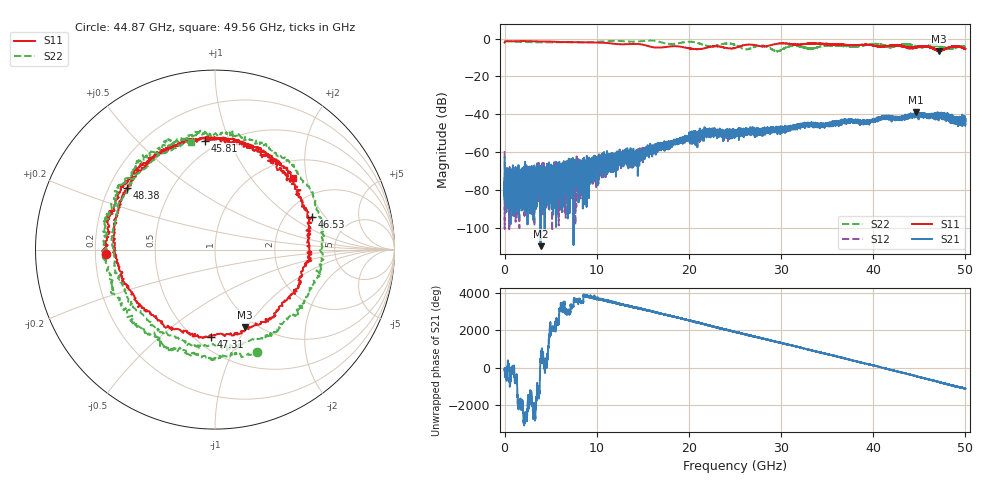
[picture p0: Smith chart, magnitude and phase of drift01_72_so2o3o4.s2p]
!Created with skrf (http://scikit-rf.org).
# Hz S RI R 50.0
!freq ReS11 ImS11 ReS21 ImS21 ReS12 ImS12 ReS22 ImS22
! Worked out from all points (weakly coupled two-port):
!   10001 points, 300 kHz to 50 GHz, reference 50 ohm
!   highest |S21| = -38.87 dB at 44.62 GHz (marker M1); lowest = -109.6 dB at 3.9 GHz (marker M2)
!   lowest |S11| = -6.6 dB at 47.15 GHz (marker M3), VSWR 2.74, Z = 44.5 - j49.3 ohm
!   |S11| at or under -10 dB: nowhere
!   |S22| runs from -6.8 to -1.0 dB; largest |S21 - S12| = 0.0036
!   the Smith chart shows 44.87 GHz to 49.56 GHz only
!   S11 on the Smith chart (normalised r, x): 44.87 GHz: 0.24, -0.02; 45.81 GHz: 0.42, +0.82; 46.53 GHz: 2.77, +1.50; 47.31 GHz: 0.60, -0.76; 48.38 GHz: 0.27, +0.29; 49.56 GHz: 1.37, +1.67
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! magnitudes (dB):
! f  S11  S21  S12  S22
! 300 kHz  -2.1  -62.9  -59.5  -1.3
! 255.3 MHz  -1.4  -79.3  -83.1  -1.4
! 3.9 GHz  -1.6  -109.6  -76.2  -2.0
! 8.335 GHz  -1.9  -71.1  -79.2  -2.1
! 16.67 GHz  -4.8  -56.8  -57.3  -1.6
! 21.89 GHz  -4.9  -49.1  -50.0  -3.9
! 25 GHz  -5.0  -50.6  -50.3  -3.4
! 26.19 GHz  -3.4  -48.8  -48.7  -5.7
! 28.09 GHz  -4.2  -49.2  -48.5  -3.8
! 29.55 GHz  -2.8  -47.6  -48.0  -6.7
! 31.29 GHz  -3.1  -47.4  -46.8  -4.0
! 33.34 GHz  -2.6  -45.1  -45.7  -5.4
! 41.67 GHz  -3.8  -40.6  -41.2  -4.4
! 44.62 GHz  -4.7  -38.9  -39.7  -3.9
! 44.87 GHz  -4.3  -39.6  -39.9  -4.2
! 45.81 GHz  -4.3  -40.9  -40.2  -4.2
! 46.53 GHz  -4.9  -41.3  -41.0  -3.7
! 47.15 GHz  -6.6  -41.1  -40.1  -4.1
! 47.31 GHz  -6.3  -40.9  -40.3  -4.3
! 48.38 GHz  -4.4  -40.6  -41.8  -5.2
! 49.56 GHz  -4.6  -44.2  -42.8  -4.2
! 50 GHz  -5.5  -42.7  -44.4  -4.2
